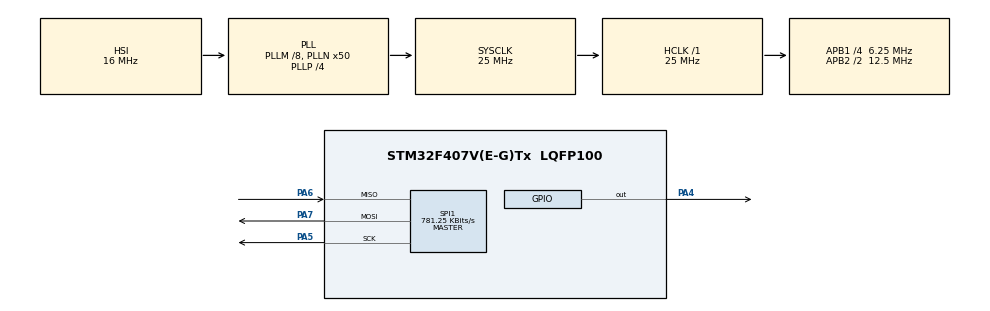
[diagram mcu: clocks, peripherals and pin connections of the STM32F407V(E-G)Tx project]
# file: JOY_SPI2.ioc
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Mcu.Family=STM32F4
Mcu.Name=STM32F407V(E-G)Tx
Mcu.Package=LQFP100
NVIC.PriorityGroup=NVIC_PRIORITYGROUP_0
PA4.Signal=GPIO_Output
PA5.Mode=Full_Duplex_Master
PA5.Signal=SPI1_SCK
PA6.Mode=Full_Duplex_Master
PA6.Signal=SPI1_MISO
PA7.Mode=Full_Duplex_Master
PA7.Signal=SPI1_MOSI
ProjectManager.HeapSize=0x200
ProjectManager.StackSize=0x400
ProjectManager.TargetToolchain=STM32CubeIDE
RCC.48MHZClocksFreq_Value=14285714.285714285
RCC.AHBFreq_Value=25000000
RCC.APB1CLKDivider=RCC_HCLK_DIV4
RCC.APB1Freq_Value=6250000
RCC.APB1TimFreq_Value=12500000
RCC.APB2CLKDivider=RCC_HCLK_DIV2
RCC.APB2Freq_Value=12500000
RCC.APB2TimFreq_Value=25000000
RCC.CortexFreq_Value=25000000
RCC.HCLKFreq_Value=25000000
RCC.HSE_VALUE=8000000
RCC.HSI_VALUE=16000000
RCC.LSE_VALUE=32768
RCC.PLLM=8
RCC.PLLN=50
RCC.PLLP=RCC_PLLP_DIV4
RCC.PLLQ=7
RCC.SYSCLKFreq_VALUE=25000000
RCC.SYSCLKSource=RCC_SYSCLKSOURCE_PLLCLK
RCC.VCOOutputFreq_Value=100000000
SPI1.BaudRatePrescaler=SPI_BAUDRATEPRESCALER_16
SPI1.CalculateBaudRate=781.25 KBits/s
SPI1.Direction=SPI_DIRECTION_2LINES
SPI1.Mode=SPI_MODE_MASTER
SPI1.VirtualType=VM_MASTER
board=STM32F407G-DISC1

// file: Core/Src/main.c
/* USER CODE BEGIN Header */
/**
  ******************************************************************************
  * @file           : main.c
  * @brief          : Main program body
  ******************************************************************************
  * @attention
  *
  * Copyright (c) 2025 STMicroelectronics.
  * All rights reserved.
  *
  * This software is licensed under terms that can be found in the LICENSE file
  * in the root directory of this software component.
  * If no LICENSE file comes with this software, it is provided AS-IS.
  *
  ******************************************************************************
  */
/* USER CODE END Header */
#include "main.h"

/* USER CODE BEGIN Includes */
#include "math.h"
/* USER CODE END Includes */

SPI_HandleTypeDef hspi1;

void SystemClock_Config(void);
static void MX_GPIO_Init(void);
static void MX_SPI1_Init(void);

/* USER CODE BEGIN 0 */

uint8_t joystick_data[5];  // Buffer de datos del joystick
uint16_t boton1;
uint16_t boton2;
uint16_t angulo;
uint16_t v_directorx;
uint16_t v_directory;
double angulo_grados;

double x_value=0;
double y_value=0;

//Lectura y tratamiento de coordenadas
void read_joystick_position(void) {
    uint8_t command = 0x00;  // Comando para leer datos del joystick (según el manual)

    // Activamos el CS
    HAL_GPIO_WritePin(GPIOA, GPIO_PIN_4, GPIO_PIN_RESET);

    //Transmitimos para leer
    HAL_SPI_Transmit(&hspi1, &command, 1, HAL_MAX_DELAY);

    // Recibimos el buffer de datos del joystick
    HAL_SPI_Receive(&hspi1, joystick_data, 5, HAL_MAX_DELAY);

    // Cerramos el CS
    HAL_GPIO_WritePin(GPIOA, GPIO_PIN_4, GPIO_PIN_SET);

    // Procesar los datos: joystick_data[1] y joystick_data[2] son las posiciones X e Y
    v_directorx = joystick_data[0];
    angulo = joystick_data[1];  //Valores de angulo
    v_directory = joystick_data[2];  //Sectores de angulo
    boton1 = joystick_data[3]; //Boton central y lateral
    boton2 = joystick_data[4]; //Confirmación de boton central y lateral

    //Boton lateral o central como seguro
    if(boton2)
    	          {
    	//Valores de coordenadas en x e y para azimut y giro
    		          x_value= 100*cos((M_PI*angulo_grados)/180);
    		          y_value= 100*sin((M_PI*angulo_grados)/180);

    		          //Sector 0-60
    		          if(v_directorx>1 && v_directory> 1 && v_directory< 3)
    		            {
    		          	 angulo_grados=60*1.0*angulo/255;
    		            }
    		          //Sector 60-90
    		            else if(v_directory== 3 && v_directorx>1)
    		            {
    		          	 angulo_grados= 60+30*angulo*1.0/68;
    		            }
    		          //Sector 90-120
    		            else if(v_directory== 3 && v_directorx<2)
    		            {
    		            	 angulo_grados= 90+30*(68-angulo)*1.0/68;
    		            }
    		          //Sector 120-180
    		            else if(v_directorx<2 && v_directory> 1 && v_directory< 3)
    		            {
    		               angulo_grados= 120+60*(255-angulo)*1.0/255;
    		            }
    		          //Sector 180-240
    		            else if(v_directorx<2 && v_directory< 2 && v_directory> 0)
    		            {
    		               angulo_grados= 180+60*(255-angulo)*1.0/255;
    		            }
    		          //Sector 240-270
    		            else if(v_directory== 0 && v_directorx<2)
    		            {
    		               angulo_grados= 240-30*(angulo-255)*1.0/68;
    		            }
    		          //Sector 270-300
    		            else if(v_directory== 0 && v_directorx>1)
    		            {
    		                 angulo_grados= 270+30*(angulo-255+68)*1.0/68;
    		            }
    		          //Sector 300-330
    		            else if(v_directorx>1 && v_directory< 2 && v_directory> 0)
    		            {
    		          	 angulo_grados= 300+60*(angulo)*1.0/255;
    		            }
    	          }
    	          else
    	          {
    	        	  //Si se ha quitado el seguro valores por defecto a cero y la torreta se queda inmovil
    	        	  x_value= 0;
    	        	  y_value= 0;
    	          }
}
/* USER CODE END 0 */

int main(void)
{

  /* MCU Configuration--------------------------------------------------------*/

  /* Reset of all peripherals, Initializes the Flash interface and the Systick. */
  HAL_Init();

  /* Configure the system clock */
  SystemClock_Config();

  /* Initialize all configured peripherals */
  MX_GPIO_Init();
  MX_SPI1_Init();

  /* Infinite loop */
  while (1)
  {

    /* USER CODE BEGIN 3 */

	  //Llamada a la función de lectura
	          read_joystick_position();

	          // Retardo recomendado en la DATASHEET
	          HAL_Delay(100);

  }
  /* USER CODE END 3 */
}

void SystemClock_Config(void)
{
  RCC_OscInitTypeDef RCC_OscInitStruct = {0};
  RCC_ClkInitTypeDef RCC_ClkInitStruct = {0};

  /** Configure the main internal regulator output voltage
  */
  __HAL_RCC_PWR_CLK_ENABLE();
  __HAL_PWR_VOLTAGESCALING_CONFIG(PWR_REGULATOR_VOLTAGE_SCALE1);

  /** Initializes the RCC Oscillators according to the specified parameters
  * in the RCC_OscInitTypeDef structure.
  */
  RCC_OscInitStruct.OscillatorType = RCC_OSCILLATORTYPE_HSI;
  RCC_OscInitStruct.HSIState = RCC_HSI_ON;
  RCC_OscInitStruct.HSICalibrationValue = RCC_HSICALIBRATION_DEFAULT;
  RCC_OscInitStruct.PLL.PLLState = RCC_PLL_ON;
  RCC_OscInitStruct.PLL.PLLSource = RCC_PLLSOURCE_HSI;
  RCC_OscInitStruct.PLL.PLLM = 8;
  RCC_OscInitStruct.PLL.PLLN = 50;
  RCC_OscInitStruct.PLL.PLLP = RCC_PLLP_DIV4;
  RCC_OscInitStruct.PLL.PLLQ = 7;
  if (HAL_RCC_OscConfig(&RCC_OscInitStruct) != HAL_OK)
  {
    Error_Handler();
  }

  /** Initializes the CPU, AHB and APB buses clocks
  */
  RCC_ClkInitStruct.ClockType = RCC_CLOCKTYPE_HCLK|RCC_CLOCKTYPE_SYSCLK
                              |RCC_CLOCKTYPE_PCLK1|RCC_CLOCKTYPE_PCLK2;
  RCC_ClkInitStruct.SYSCLKSource = RCC_SYSCLKSOURCE_PLLCLK;
  RCC_ClkInitStruct.AHBCLKDivider = RCC_SYSCLK_DIV1;
  RCC_ClkInitStruct.APB1CLKDivider = RCC_HCLK_DIV4;
  RCC_ClkInitStruct.APB2CLKDivider = RCC_HCLK_DIV2;

  if (HAL_RCC_ClockConfig(&RCC_ClkInitStruct, FLASH_LATENCY_0) != HAL_OK)
  {
    Error_Handler();
  }
}

static void MX_SPI1_Init(void)
{

  /* SPI1 parameter configuration*/
  hspi1.Instance = SPI1;
  hspi1.Init.Mode = SPI_MODE_MASTER;
  hspi1.Init.Direction = SPI_DIRECTION_2LINES;
  hspi1.Init.DataSize = SPI_DATASIZE_8BIT;
  hspi1.Init.CLKPolarity = SPI_POLARITY_LOW;
  hspi1.Init.CLKPhase = SPI_PHASE_1EDGE;
  hspi1.Init.NSS = SPI_NSS_SOFT;
  hspi1.Init.BaudRatePrescaler = SPI_BAUDRATEPRESCALER_16;
  hspi1.Init.FirstBit = SPI_FIRSTBIT_MSB;
  hspi1.Init.TIMode = SPI_TIMODE_DISABLE;
  hspi1.Init.CRCCalculation = SPI_CRCCALCULATION_DISABLE;
  hspi1.Init.CRCPolynomial = 10;
  if (HAL_SPI_Init(&hspi1) != HAL_OK)
  {
    Error_Handler();
  }

}

static void MX_GPIO_Init(void)
{
  GPIO_InitTypeDef GPIO_InitStruct = {0};

  /* GPIO Ports Clock Enable */
  __HAL_RCC_GPIOA_CLK_ENABLE();

  /*Configure GPIO pin Output Level */
  HAL_GPIO_WritePin(GPIOA, GPIO_PIN_4, GPIO_PIN_RESET);

  /*Configure GPIO pin : PA4 */
  GPIO_InitStruct.Pin = GPIO_PIN_4;
  GPIO_InitStruct.Mode = GPIO_MODE_OUTPUT_PP;
  GPIO_InitStruct.Pull = GPIO_NOPULL;
  GPIO_InitStruct.Speed = GPIO_SPEED_FREQ_LOW;
  HAL_GPIO_Init(GPIOA, &GPIO_InitStruct);

}

void Error_Handler(void)
{
  __disable_irq();
  while (1)
  {
  }
}
